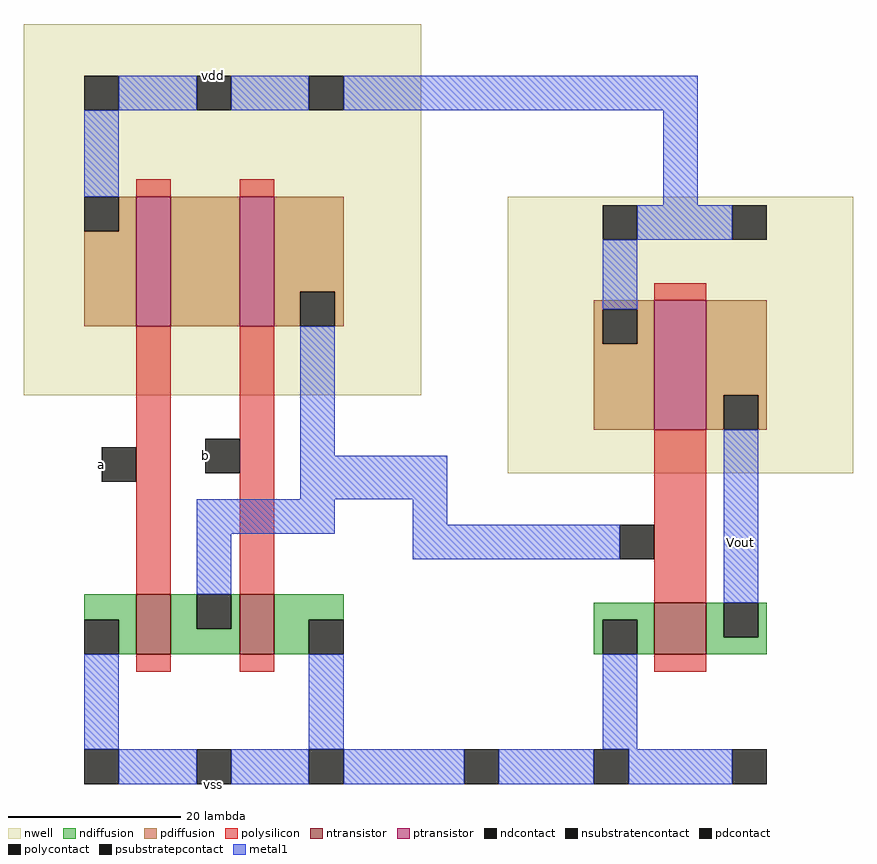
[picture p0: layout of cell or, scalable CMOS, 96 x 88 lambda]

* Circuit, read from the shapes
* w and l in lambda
.subckt or Vout a b vdd vss
M1 n1 a vss vss nfet w=7 l=4
M2 vss b n1 vss nfet w=7 l=4
M3 Vout n1 vss vss nfet w=6 l=6
M4 n2 a vdd vdd pfet w=15 l=4
M5 n1 b n2 vdd pfet w=15 l=4
M6 Vout n1 vdd vdd pfet w=15 l=6
.ends

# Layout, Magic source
magic
tech scmos
<< nwell >>
rect -50 45 -4 88
rect 6 36 46 68
<< polysilicon >>
rect -37 68 -33 70
rect -25 68 -21 70
rect 23 56 29 58
rect -37 22 -33 53
rect -25 22 -21 53
rect 23 21 29 41
rect -37 13 -33 15
rect -25 13 -21 15
rect 23 13 29 15
<< ndiffusion >>
rect -43 19 -37 22
rect -39 15 -37 19
rect -33 18 -30 22
rect -26 18 -25 22
rect -33 15 -25 18
rect -21 19 -13 22
rect -21 15 -17 19
rect 16 19 23 21
rect 16 15 17 19
rect 21 15 23 19
rect 29 17 31 21
rect 35 17 36 21
rect 29 15 36 17
<< pdiffusion >>
rect -39 64 -37 68
rect -43 53 -37 64
rect -33 53 -25 68
rect -21 57 -13 68
rect -21 53 -18 57
rect -14 53 -13 57
rect 16 55 23 56
rect 16 51 17 55
rect 21 51 23 55
rect 16 41 23 51
rect 29 45 36 56
rect 29 41 31 45
rect 35 41 36 45
<< metal1 >>
rect -39 78 -30 82
rect -26 78 -17 82
rect -13 78 28 82
rect -43 68 -39 78
rect 24 67 28 78
rect 21 63 32 67
rect -18 38 -14 53
rect 17 55 21 63
rect -18 33 -1 38
rect -30 29 -14 33
rect -5 30 -1 33
rect -30 22 -26 29
rect -5 26 19 30
rect 31 21 35 41
rect -43 4 -39 15
rect -17 4 -13 15
rect 17 4 21 15
rect -39 0 -30 4
rect -26 0 -17 4
rect -13 0 1 4
rect 5 0 16 4
rect 20 0 32 4
<< ntransistor >>
rect -37 15 -33 22
rect -25 15 -21 22
rect 23 15 29 21
<< ptransistor >>
rect -37 53 -33 68
rect -25 53 -21 68
rect 23 41 29 56
<< polycontact >>
rect -41 35 -37 39
rect -29 36 -25 40
rect 19 26 23 30
<< ndcontact >>
rect -43 15 -39 19
rect -30 18 -26 22
rect -17 15 -13 19
rect 17 15 21 19
rect 31 17 35 21
<< pdcontact >>
rect -43 64 -39 68
rect -18 53 -14 57
rect 17 51 21 55
rect 31 41 35 45
<< psubstratepcontact >>
rect -43 0 -39 4
rect -30 0 -26 4
rect -17 0 -13 4
rect 1 0 5 4
rect 16 0 20 4
rect 32 0 36 4
<< nsubstratencontact >>
rect -43 78 -39 82
rect -30 78 -26 82
rect -17 78 -13 82
rect 17 63 21 67
rect 32 63 36 67
<< labels >>
rlabel nwell -43 82 -13 82 1 vdd
rlabel metal1 -43 0 -13 0 5 vss
rlabel polycontact -41 35 -41 39 7 a
rlabel polycontact -29 36 -29 40 7 b
rlabel metal1 33 28 33 28 1 Vout
<< end >>
